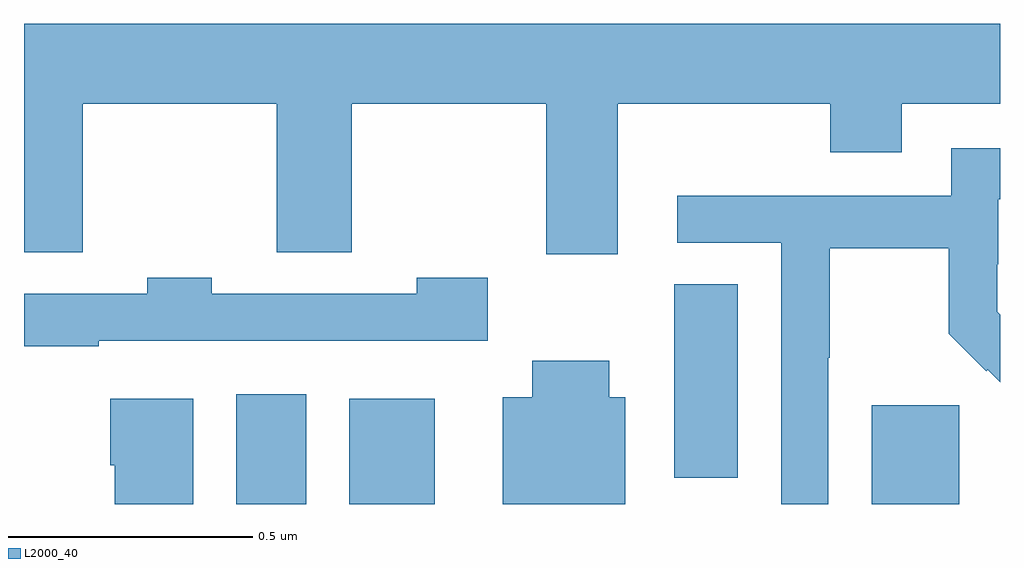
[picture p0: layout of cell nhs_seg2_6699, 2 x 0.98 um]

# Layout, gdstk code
import gdstk
lib = gdstk.Library(unit=1e-6, precision=1e-09)
def R(c, l, rs):  # rectangles x0, y0, x1, y1
    for r in rs: c.add(gdstk.rectangle(r[:2], r[2:], *l))
def P(c, l, *ps):  # polygons
    for p in ps: c.add(gdstk.Polygon(p, *l))
L2000_40 = (2000, 40)

nhs_seg2_6699 = lib.new_cell('nhs_seg2_6699')
R(nhs_seg2_6699, L2000_40, [(194.435,662.8,194.578,663.025), (194.666,662.8,194.842,663.016), (195.737,662.8,195.916,663.003), (195.332,662.854,195.463,663.251)])
P(nhs_seg2_6699, L2000_40, [(195.217,663.62),(195.652,663.62),(195.652,663.521),(195.799,663.521),(195.799,663.62),(196,663.62),(196,663.784),(194,663.784),(194,663.316),(194.12,663.316),(194.12,663.62),(194.518,663.62),(194.518,663.316),(194.672,663.316),(194.672,663.62),(195.07,663.62),(195.07,663.312),(195.217,663.312)],
  [(195.648,663.1),(195.651,663.1),(195.651,663.324),(195.895,663.324),(195.895,663.149),(195.972,663.072),(195.975,663.075),(196,663.05),(196,663.188),(195.994,663.194),(195.994,663.291),(195.996,663.291),(195.996,663.425),(196,663.425),(196,663.529),(195.9,663.529),(195.9,663.432),(195.339,663.432),(195.339,663.336),(195.552,663.336),(195.552,662.8),(195.648,662.8)],
  [(194.153,663.135),(194.95,663.135),(194.95,663.264),(194.805,663.264),(194.805,663.231),(194.385,663.231),(194.385,663.264),(194.253,663.264),(194.253,663.231),(194,663.231),(194,663.123),(194.153,663.123)],
  [(195.232,663.019),(195.199,663.019),(195.199,663.094),(195.041,663.094),(195.041,663.019),(194.981,663.019),(194.981,662.8),(195.232,662.8)],
  [(194.347,663.016),(194.177,663.016),(194.177,662.88),(194.186,662.88),(194.186,662.8),(194.347,662.8)])

lib.write_gds('nhs_seg2_6699.gds')
